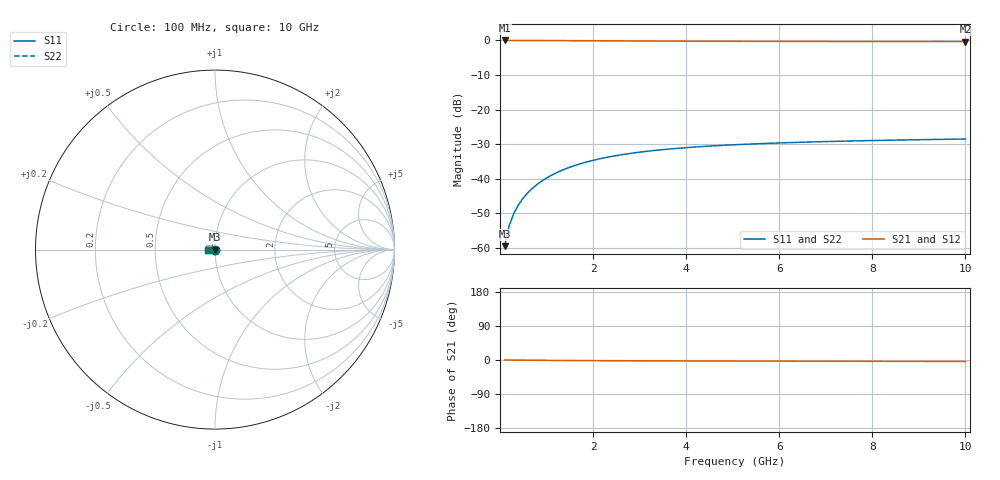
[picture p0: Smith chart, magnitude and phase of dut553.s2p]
! Touchstone file exported from HFSS 2024.1.0
!  File:  C:/UserFiles/LocalFiles/RDL_TSV_Batchsim/temp_TSV1_553_1779706585.aedt
!  Generated:  07:02:47 PM May 25, 2026
!  Design:  TSV1
!  Project:  temp_TSV1_553_1779706585
!  Setup:  Setup1
!  Solution:  Sweep
! Variables:
!  dtsv = 12.13um
!  hbump = 3um
!  htsv = 57.55um
!  lrdl = 252.1521522um
!  p = 40
!  p1 = 50.73um
!  t = 500um
!  trdl = 3um
!  wrdl = 24.89489489um
# GHz S MA R 50.000000
! Terminal data exported
! Port[1] = TSV22_T1
! Port[2] = TSV22_T2
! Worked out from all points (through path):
!   100 points, 100 MHz to 10 GHz, reference 50 ohm
!   highest |S21| = 0.00 dB at 100 MHz (marker M1); lowest = -0.3 dB at 10 GHz (marker M2)
!   lowest |S11| = -59.5 dB at 100 MHz (marker M3), VSWR 1.00, Z = 50 - j0.106 ohm
!   |S11| at or under -10 dB: start of sweep to end of sweep
!   |S22| runs from -59.5 to -28.5 dB; largest |S21 - S12| = 2.7e-15
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0.1  0.001058 -87.4  0.9999 -0.1  0.9999 -0.1  0.001058 -87.4
! Gamma 0 0 0 0
! Port Impedance 50 0 50 0
0.2  0.002112 -91.2  0.9998 -0.2  0.9998 -0.2  0.002112 -91.2
0.3  0.003165 -93.6  0.9996 -0.3  0.9996 -0.3  0.003165 -93.6
0.4  0.004215 -95.7  0.9993 -0.4  0.9993 -0.4  0.004215 -95.7
0.5  0.005256 -97.7  0.999 -0.5  0.999 -0.5  0.005256 -97.7
0.6  0.006284 -99.6  0.9987 -0.6  0.9987 -0.6  0.006284 -99.6
0.7  0.007298 -101.5  0.9983 -0.7  0.9983 -0.7  0.007298 -101.5
0.8  0.008295 -103.3  0.9978 -0.8  0.9978 -0.8  0.008295 -103.3
0.9  0.009272 -105.1  0.9973 -0.8  0.9973 -0.8  0.009272 -105.1
1.1  0.01116 -108.5  0.9962 -1.0  0.9962 -1.0  0.01116 -108.5
1.4  0.01382 -113.4  0.9942 -1.2  0.9942 -1.2  0.01382 -113.4
1.6  0.01546 -116.5  0.9928 -1.4  0.9928 -1.4  0.01546 -116.5
1.8  0.017 -119.4  0.9914 -1.5  0.9914 -1.5  0.017 -119.4
2.1  0.01911 -123.6  0.9892 -1.7  0.9892 -1.7  0.01911 -123.6
2.5  0.02159 -128.6  0.9863 -1.9  0.9863 -1.9  0.02159 -128.6
2.9  0.02372 -133.2  0.9835 -2.1  0.9835 -2.1  0.02372 -133.2
3.4  0.02596 -138.3  0.9804 -2.3  0.9804 -2.3  0.02596 -138.3
4.2  0.02877 -145.2  0.9761 -2.5  0.9761 -2.5  0.02877 -145.2
5.1  0.03113 -151.7  0.9722 -2.7  0.9722 -2.7  0.03113 -151.7
6.7  0.03403 -160.8  0.9673 -3.1  0.9673 -3.1  0.03403 -160.8
8.4  0.03609 -168.4  0.9639 -3.5  0.9639 -3.5  0.03609 -168.4
10  0.03752 -174.3  0.9616 -3.9  0.9616 -3.9  0.03752 -174.3
